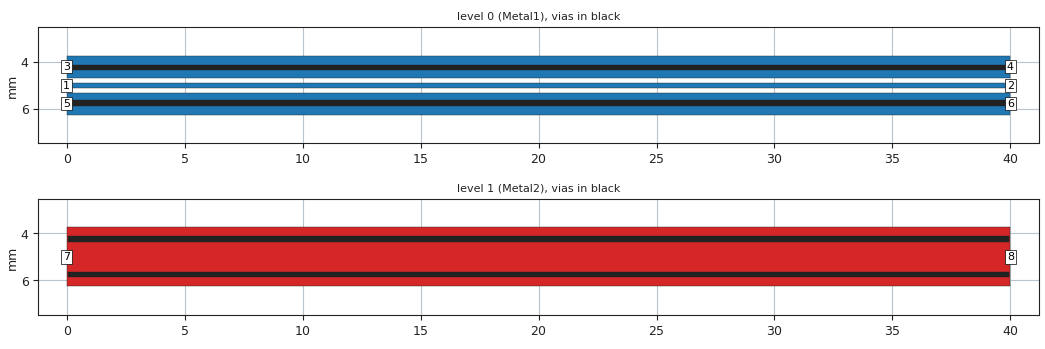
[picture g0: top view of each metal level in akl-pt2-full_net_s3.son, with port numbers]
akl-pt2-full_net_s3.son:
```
FTYP SONPROJ 18 ! Sonnet Project File
VER 17.56
HEADER
LIC antikernel2.1.50150 3cfdfeabd719 havequick azonenberg Level2Silver
DAT 12/23/2020 23:35:12
BUILT_BY_CREATED xgeom 17.56 12/23/2020 09:12:10
BUILT_BY_SAVED sonnet 17.56
MDATE 12/23/2020 23:35:12
HDATE 12/23/2020 23:35:12
ANN Created by dxfgeo, Sonnet Software Inc.
END HEADER
DIM
ANG DEG
CAP PF
CON /OH
FREQ GHZ
IND NH
LNG MM
RES OH
END DIM
CONTROL
ABS
OPTIONS  -dj
SPEED 1
CACHE_ABS 1
Q_ACC N
END CONTROL
GEO
TMET "Free Space" 0 FREESPACE 376.7303136 0 0 0
BMET "Free Space" 0 FREESPACE 376.7303136 0 0 0
MET "Copper 1oz thick" 1 TMM 58000000 0.5 0.035 2
MET "Copper 1oz" 2 NOR 58000000 0.5 0.035 
BOX 2 40 10 1600 800 20 0
      1 1 1 0 0 0 0 "Air"
      0.1 3.5 1 0.003 0 0 0 "Polyimide"
      1 1 1 0 0 0 0 "Air"
TECHLAY METAL Metal1 L1D0 -2 0 
0 0 0 T 1133 1 1 100 100 0 0 0 Y
END
END
TECHLAY METAL Metal2 L2D0 -3 0 
1 0 1 N 1142 1 1 100 100 0 0 0 Y
END
END
TECHLAY VIA Via1 L3D0 -4 0 
VIA POLYGON
1 0 -1 N 1146 1 1 100 100 0 0 0 Y
TOLEVEL 0 RING NOCOVERS
END
END
LORGN 0 160 U 
POR1 BOX
POLY 1109 1
0
1 50 0 0 0 0 5 
POR1 BOX
POLY 1109 1
2
2 50 0 0 0 40 5 
POR1 BOX
POLY 1112 1
0
3 50 0 0 0 0 4.2125 
POR1 BOX
POLY 1112 1
2
4 50 0 0 0 40 4.2125 
POR1 BOX
POLY 1115 1
0
5 50 0 0 0 0 5.7875 
POR1 BOX
POLY 1115 1
2
6 50 0 0 0 40 5.7875 
POR1 BOX
POLY 1118 1
0
7 50 0 0 0 0 5 
POR1 BOX
POLY 1118 1
2
8 50 0 0 0 40 5 
NUM 6
0 5 0 T 1109 1 1 100 100 0 0 0 Y
TLAYNAM Metal1 INH
USER_DAT FromImport
0 5.1
0 4.9
40 4.9
40 5.1
0 5.1
END
0 5 0 T 1112 1 1 100 100 0 0 0 Y
TLAYNAM Metal1 INH
0 3.75
0 4.675
40 4.675
40 3.75
0 3.75
END
0 5 0 T 1115 1 1 100 100 0 0 0 Y
TLAYNAM Metal1 INH
0 5.325
0 6.25
40 6.25
40 5.325
0 5.325
END
1 5 1 N 1118 1 1 100 100 0 0 0 Y
TLAYNAM Metal2 INH
0 3.75
0 6.25
40 6.25
40 3.75
0 3.75
END
VIA POLYGON
1 5 -1 N 1121 1 1 100 100 0 0 0 Y
TOLEVEL 0 RING NOCOVERS
TLAYNAM Via1 INH
USER_DAT FromImport
0.05 4.375
0.05 4.125
39.95 4.125
39.95 4.375
0.05 4.375
END
VIA POLYGON
1 5 -1 N 1122 1 1 100 100 0 0 0 Y
TOLEVEL 0 RING NOCOVERS
TLAYNAM Via1 INH
USER_DAT FromImport
0.05 5.875
0.05 5.625
39.95 5.625
39.95 5.875
0.05 5.875
END
END GEO
OPT
MAX 100
END OPT
VARSWP
ENABLED Y
FREQ Y AY ABS_ENTRY 0.1 10.0 -1 300 
END
END VARSWP
```
